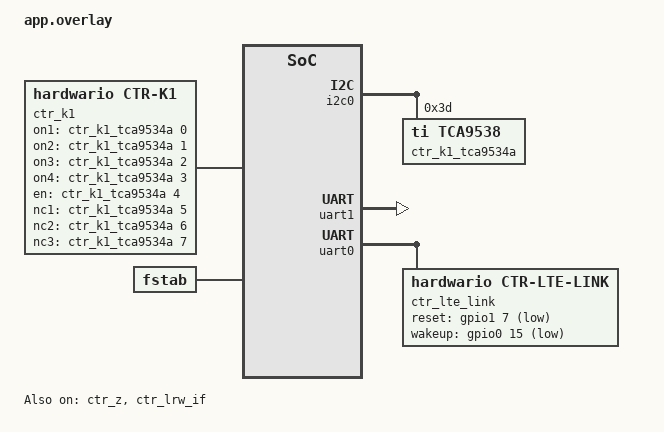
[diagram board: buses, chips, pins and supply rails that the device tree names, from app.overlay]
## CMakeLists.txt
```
#
# Copyright (c) 2024 HARDWARIO a.s.
#
# SPDX-License-Identifier: LicenseRef-HARDWARIO-5-Clause
#

cmake_minimum_required(VERSION 3.20.0)

set(ENV{FW_BUNDLE} "com.hardwario.chester.app.current")
set(ENV{FW_NAME} "CHESTER Current")

# Derive firmware version from git (see scripts/version.cmake); the fallback is
# used when git is unavailable at build time.
set(FW_VERSION_FALLBACK "v3.0.0")
include(${CMAKE_CURRENT_SOURCE_DIR}/../../scripts/version.cmake)

find_package(Zephyr REQUIRED HINTS $ENV{ZEPHYR_BASE})

project(chester-current)

include(${ZEPHYR_CHESTER_MODULE_DIR}/scripts/app_codec.cmake)

target_sources(app PRIVATE src/app_ble_svc.c)
target_sources(app PRIVATE src/app_cbor.c)
target_sources(app PRIVATE src/app_config.c)
target_sources(app PRIVATE src/app_data.c)
target_sources(app PRIVATE src/app_handler.c)
target_sources(app PRIVATE src/app_init.c)
target_sources(app PRIVATE src/app_send.c)
target_sources(app PRIVATE src/app_sensor.c)
target_sources(app PRIVATE src/app_shell.c)
target_sources(app PRIVATE src/app_work.c)
target_sources(app PRIVATE src/main.c)

target_precompile_headers(app PRIVATE src/feature.h)

# ### Preserved code "cmake" (begin)
# ^^^ Preserved code "cmake" (end)
```

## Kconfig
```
#
# Copyright (c) 2024 HARDWARIO a.s.
#
# SPDX-License-Identifier: LicenseRef-HARDWARIO-5-Clause
#

menu "Application"

# HARDWARE-CHESTER-K1
config SHIELD_CTR_K1
	bool "Enable SHIELD_CTR_K1"
	default y

config CTR_K1
	default y
# HARDWARE-CHESTER-Z
config SHIELD_CTR_Z
	bool "Enable SHIELD_CTR_Z"
	default y

config CTR_Z
	default y

config I2C
	default y
# SUBSYSTEM-DS18B20
config SHIELD_CTR_DS18B20
	bool "Enable SHIELD_CTR_DS18B20"
	default y

config CTR_DS18B20
	default y
# SUBSYSTEM-LRW
config SHIELD_CTR_LRW
	bool "Enable SHIELD_CTR_LRW"
	default y

config CTR_LRW
	default y
# SUBSYSTEM-LTE-V2
config SHIELD_CTR_LTE_V2
	bool "Enable SHIELD_CTR_LTE_V2"
	default y

config CTR_LTE_V2
	default y

# ### Preserved code "k_config" (begin)
# ^^^ Preserved code "k_config" (end)

rsource "Kconfig.variant"

endmenu

menu "Zephyr Kernel"
source "Kconfig.zephyr"
endmenu
```

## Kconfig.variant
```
#
# Copyright (c) 2024 HARDWARIO a.s.
#
# SPDX-License-Identifier: LicenseRef-HARDWARIO-5-Clause
#

config VARIANT_CURRENT
    bool "Enable VARIANT_CURRENT"
    default y
```

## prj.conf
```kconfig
#
# Copyright (c) 2024 HARDWARIO a.s.
#
# SPDX-License-Identifier: LicenseRef-HARDWARIO-5-Clause
#

# Configurations
# SUBSYSTEM-ACCEL
CONFIG_CTR_ACCEL=y
# SUBSYSTEM-BATT
CONFIG_CTR_BATT=y
# SUBSYSTEM-BLE-TAG
CONFIG_CTR_BLE_TAG=y
# SUBSYSTEM-BLUETOOTH
CONFIG_CTR_BLE=y
# SUBSYSTEM-BT-FILTER-ACCEPT-LIST
CONFIG_BT_FILTER_ACCEPT_LIST=y
# SUBSYSTEM-BT-OBSERVER
CONFIG_BT_OBSERVER=y
# SUBSYSTEM-BUF
CONFIG_CTR_BUF=y
# SUBSYSTEM-BUTTON
CONFIG_CTR_BUTTON=y
# SUBSYSTEM-CLOUD
CONFIG_CTR_CLOUD=y
CONFIG_SETTINGS_SHELL=y
CONFIG_IMG_MANAGER=y
CONFIG_BOOTLOADER_MCUBOOT=y
CONFIG_SPI=y
CONFIG_DFU_TARGET=y
CONFIG_DFU_TARGET_STREAM=y
CONFIG_DFU_TARGET_MCUBOOT=y
CONFIG_DFU_TARGET_LOG_LEVEL_DBG=y
CONFIG_STREAM_FLASH_ERASE=y
CONFIG_STREAM_FLASH=y
CONFIG_FILE_SYSTEM=y
CONFIG_FILE_SYSTEM_LITTLEFS=y
CONFIG_FILE_SYSTEM_MKFS=y
CONFIG_FILE_SYSTEM_SHELL=y
CONFIG_SETTINGS_FILE=y
CONFIG_SETTINGS_FILE_PATH="/lfs1/settings/run"
# SUBSYSTEM-CONFIG
CONFIG_CTR_CONFIG=y
# SUBSYSTEM-DEFAULTS
CONFIG_CTR_DEFAULTS=y
# SUBSYSTEM-DS18B20
CONFIG_CTR_DS18B20=y
# SUBSYSTEM-INFO
CONFIG_CTR_INFO=y
# SUBSYSTEM-LED
CONFIG_CTR_LED=y
# SUBSYSTEM-LOG
CONFIG_CTR_LOG=y
# SUBSYSTEM-LRW
CONFIG_CTR_LRW=y
# SUBSYSTEM-LTE-V2
CONFIG_CTR_LTE_V2=y
# SUBSYSTEM-POWER
CONFIG_CTR_POWER=y
# SUBSYSTEM-RTC
CONFIG_CTR_RTC=y
# SUBSYSTEM-SHELL
CONFIG_CTR_SHELL=y
# SUBSYSTEM-THERM
CONFIG_CTR_THERM=y
# SUBSYSTEM-WDOG
CONFIG_CTR_WDOG=y
# SUBSYSTEM-ZCBOR
CONFIG_ZCBOR=y
CONFIG_ZCBOR_STOP_ON_ERROR=y
# Extra configurations
CONFIG_ADC_NRFX_SAADC=n
CONFIG_ADC_SHELL=n
CONFIG_CTR_K1_LOG_LEVEL_DBG=y
CONFIG_GPIO_SHELL=y
CONFIG_I2C_SHELL=y
CONFIG_ISR_TABLES_LOCAL_DECLARATION=y
CONFIG_LTO=y
CONFIG_MCUBOOT_SHELL=y
CONFIG_NEWLIB_LIBC_NANO=n

# ### Preserved code "config" (begin)
CONFIG_BUILD_OUTPUT_META=y
CONFIG_BUILD_OUTPUT_META_STATE_PROPAGATE=y
CONFIG_CTR_CLOUD_SPOOL=y
# ^^^ Preserved code "config" (end)
```

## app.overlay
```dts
/*
 * Copyright (c) 2024 HARDWARIO a.s.
 *
 * SPDX-License-Identifier: LicenseRef-HARDWARIO-5-Clause
 */

/* HARDWARE-CHESTER-K1  */
/ {
	ctr_k1: ctr_k1 {
		compatible = "hardwario,ctr-k1";
		status = "okay";
		on1-gpios = <&ctr_k1_tca9534a 0 GPIO_ACTIVE_HIGH>;
		on2-gpios = <&ctr_k1_tca9534a 1 GPIO_ACTIVE_HIGH>;
		on3-gpios = <&ctr_k1_tca9534a 2 GPIO_ACTIVE_HIGH>;
		on4-gpios = <&ctr_k1_tca9534a 3 GPIO_ACTIVE_HIGH>;
		en-gpios = <&ctr_k1_tca9534a 4 GPIO_ACTIVE_HIGH>;
		nc1-gpios = <&ctr_k1_tca9534a 5 GPIO_ACTIVE_HIGH>;
		nc2-gpios = <&ctr_k1_tca9534a 6 GPIO_ACTIVE_HIGH>;
		nc3-gpios = <&ctr_k1_tca9534a 7 GPIO_ACTIVE_HIGH>;
	};
};

&i2c0 {
	ctr_k1_tca9534a: ctr_k1_tca9534a@3d {
		compatible = "ti,tca9538";
		status = "okay";
		reg = <0x3d>;
		#gpio-cells = <2>;
		gpio-controller;
		ngpios = <8>;
	};
};
/* HARDWARE-CHESTER-Z  */
&ctr_z {
	status = "okay";
};
/* SUBSYSTEM-CLOUD  */
/ {
	fstab {
		compatible = "zephyr,fstab";
		lfs1: lfs1 {
			compatible = "zephyr,fstab,littlefs";
			mount-point = "/lfs1";
			partition = <&littlefs_storage>;
			automount;
			read-size = <16>;
			prog-size = <16>;
			cache-size = <64>;
			lookahead-size = <32>;
			block-cycles = <512>;
		};
	};
};
/* SUBSYSTEM-DS18B20  */
&ds2484 {
	ds18b20_0: ds18b20_0 {
		compatible = "maxim,ds18b20";
		resolution = <12>;
		family-code = <0x28>;
	};

	ds18b20_1: ds18b20_1 {
		compatible = "maxim,ds18b20";
		resolution = <12>;
		family-code = <0x28>;
	};

	ds18b20_2: ds18b20_2 {
		compatible = "maxim,ds18b20";
		resolution = <12>;
		family-code = <0x28>;
	};

	ds18b20_3: ds18b20_3 {
		compatible = "maxim,ds18b20";
		resolution = <12>;
		family-code = <0x28>;
	};

	ds18b20_4: ds18b20_4 {
		compatible = "maxim,ds18b20";
		resolution = <12>;
		family-code = <0x28>;
	};

	ds18b20_5: ds18b20_5 {
		compatible = "maxim,ds18b20";
		resolution = <12>;
		family-code = <0x28>;
	};

	ds18b20_6: ds18b20_6 {
		compatible = "maxim,ds18b20";
		resolution = <12>;
		family-code = <0x28>;
	};

	ds18b20_7: ds18b20_7 {
		compatible = "maxim,ds18b20";
		resolution = <12>;
		family-code = <0x28>;
	};

	ds18b20_8: ds18b20_8 {
		compatible = "maxim,ds18b20";
		resolution = <12>;
		family-code = <0x28>;
	};

	ds18b20_9: ds18b20_9 {
		compatible = "maxim,ds18b20";
		resolution = <12>;
		family-code = <0x28>;
	};
};
/* SUBSYSTEM-LRW   */
&ctr_lrw_if {
	status = "okay";
};

&uart1 {
	status = "okay";
};
/* SUBSYSTEM-LTE-V2  */
/ {
	chosen {
		ctr,lte_link = &ctr_lte_link;
	};
};

&uart0 {
	status = "okay";

	ctr_lte_link: ctr_lte_link {
		compatible = "hardwario,ctr-lte-link";
		status = "okay";
		reset-gpios = <&gpio1 7 (GPIO_ACTIVE_LOW | GPIO_OPEN_DRAIN)>;
		wakeup-gpios = <&gpio0 15 (GPIO_ACTIVE_LOW | GPIO_OPEN_DRAIN)>;
	};
};

&uart0 {
	status = "okay";
};

/* ### Preserved code "overlay" (begin) */
/* ^^^ Preserved code "overlay" (end) */
```

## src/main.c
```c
#include "app_init.h"
#include "app_loop.h"

/* Zephyr includes */
#include <zephyr/kernel.h>
#include <zephyr/logging/log.h>

LOG_MODULE_REGISTER(main, LOG_LEVEL_DBG);

void main(void)
{
	int ret;

	LOG_INF("Build time: " __DATE__ " " __TIME__);

	ret = app_init();
	if (ret) {
		LOG_ERR("Call `app_init` failed: %d", ret);
		k_oops();
	}

	for (;;) {
		LOG_INF("Alive");

		ret = app_loop();
		if (ret) {
			LOG_ERR("Call `app_loop` failed: %d", ret);
			k_oops();
		}
	}
}
```

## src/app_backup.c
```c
/*
 * Copyright (c) 2024 HARDWARIO a.s.
 *
 * SPDX-License-Identifier: LicenseRef-HARDWARIO-5-Clause
 */

#include "app_backup.h"
#include "app_data.h"

/* CHESTER includes */
#include <chester/drivers/ctr_z.h>

/* Zephyr includes */
#include <zephyr/device.h>
#include <zephyr/devicetree.h>
#include <zephyr/kernel.h>
#include <zephyr/logging/log.h>

/* Standard includes */
#include <errno.h>
#include <math.h>
#include <stdbool.h>

LOG_MODULE_REGISTER(app_backup, LOG_LEVEL_DBG);

#if defined(FEATURE_HARDWARE_CHESTER_Z)

int app_backup_sample(void)
{
	int ret;

	static const struct device *dev = DEVICE_DT_GET(DT_NODELABEL(ctr_z));

	if (!device_is_ready(dev)) {
		LOG_ERR("Device not ready");
		ret = -ENODEV;
		goto error;
	}

	struct ctr_z_status status;
	ret = ctr_z_get_status(dev, &status);
	if (ret) {
		LOG_ERR("Call `ctr_z_get_status` failed: %d", ret);
		goto error;
	}

	LOG_INF("DC input connected: %d", status.dc_input_connected);

	uint16_t vdc;
	ret = ctr_z_get_vdc_mv(dev, &vdc);
	if (ret) {
		LOG_ERR("Call `ctr_z_get_vdc_mv` failed: %d", ret);
		goto error;
	}

	LOG_INF("Voltage DC input: %u mV", vdc);

	uint16_t vbat;
	ret = ctr_z_get_vbat_mv(dev, &vbat);
	if (ret) {
		LOG_ERR("Call `ctr_z_get_vbat_mv` failed: %d", ret);
		goto error;
	}

	LOG_INF("Voltage backup battery: %u mV", vbat);

	app_data_lock();
	g_app_data.backup.line_present = status.dc_input_connected;
	g_app_data.backup.line_voltage = vdc / 1000.f;
	g_app_data.backup.battery_voltage = vbat / 1000.f;
	app_data_unlock();

	return 0;

error:
	app_data_lock();
	g_app_data.backup.line_present = false;
	g_app_data.backup.line_voltage = NAN;
	g_app_data.backup.battery_voltage = NAN;
	app_data_unlock();

	return ret;
}

int app_backup_clear(void)
{
	app_data_lock();
	g_app_data.backup.event_count = 0;
	app_data_unlock();

	return 0;
}

#endif /* defined(FEATURE_HARDWARE_CHESTER_Z) */
```

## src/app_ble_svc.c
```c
/*
 * Copyright (c) 2024 HARDWARIO a.s.
 *
 * SPDX-License-Identifier: LicenseRef-HARDWARIO-5-Clause
 */

#include "app_config.h"

/* Zephyr includes */
#include <zephyr/bluetooth/bluetooth.h>
#include <zephyr/bluetooth/gatt.h>
#include <zephyr/bluetooth/uuid.h>
#include <zephyr/init.h>
#include <zephyr/kernel.h>
#include <zephyr/logging/log.h>
#include <zephyr/sys/byteorder.h>
#include <zephyr/sys/reboot.h>

/* Standard includes */
#include <stdint.h>

LOG_MODULE_REGISTER(app_ble_svc, LOG_LEVEL_DBG);

static struct bt_uuid_128 m_svc_uuid =
	BT_UUID_INIT_128(BT_UUID_128_ENCODE(0x450dad4c, 0xd8b4, 0x4dc4, 0xbdba, 0x498075184b3a));

static struct bt_uuid_128 m_interval_report_chrc_uuid =
	BT_UUID_INIT_128(BT_UUID_128_ENCODE(0xf6af9271, 0x67a9, 0x4bf8, 0xa618, 0x158af711b1b6));

static ssize_t write_interval_report(struct bt_conn *conn, const struct bt_gatt_attr *attr,
				     const void *buf, uint16_t len, uint16_t offset, uint8_t flags)
{
	int ret;

	if (offset) {
		return BT_GATT_ERR(BT_ATT_ERR_INVALID_OFFSET);
	}

	uint32_t value;

	if (len != sizeof(value)) {
		return BT_GATT_ERR(BT_ATT_ERR_INVALID_ATTRIBUTE_LEN);
	}

	value = sys_get_le32(buf);

	ret = app_config_set_interval_report(value);
	if (ret) {
		return BT_GATT_ERR(BT_ATT_ERR_VALUE_NOT_ALLOWED);
	}

	return len;
}

static ssize_t read_interval_report(struct bt_conn *conn, const struct bt_gatt_attr *attr,
				    void *buf, uint16_t len, uint16_t offset)
{
	uint32_t value;
	sys_put_le32(app_config_get_interval_report(), (uint8_t *)&value);

	return bt_gatt_attr_read(conn, attr, buf, len, offset, &value, sizeof(value));
}

/* clang-format off */

BT_GATT_SERVICE_DEFINE(
	app_svc,
	BT_GATT_PRIMARY_SERVICE(&m_svc_uuid),

	BT_GATT_CHARACTERISTIC(
		&m_interval_report_chrc_uuid.uuid,
		BT_GATT_CHRC_READ | BT_GATT_CHRC_WRITE,
		BT_GATT_PERM_READ_AUTHEN | BT_GATT_PERM_WRITE_AUTHEN,
		read_interval_report, write_interval_report, NULL
	)
);

/* clang-format on */
```

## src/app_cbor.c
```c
/*
 * Copyright (c) 2024 HARDWARIO a.s.
 *
 * SPDX-License-Identifier: LicenseRef-HARDWARIO-5-Clause
 */

#include "app_cbor.h"
#include "app_codec.h"
#include "app_config.h"
#include "app_data.h"

/* CHESTER includes */
#include <chester/ctr_info.h>
#include <chester/ctr_lte_v2.h>
#include <chester/ctr_rtc.h>
#include <chester/ctr_util.h>

/* Zephyr includes */
#include <zephyr/kernel.h>
#include <zephyr/logging/log.h>

#include <zcbor_common.h>
#include <zcbor_decode.h>
#include <zcbor_encode.h>

/* Standard includes */
#include <errno.h>
#include <math.h>
#include <stdbool.h>
#include <stddef.h>
#include <stdint.h>
#include <stdlib.h>

/* ### Preserved code "functions" (begin) */
#include <chester/ctr_power.h>

__unused static void put_sample_mul(zcbor_state_t *zs, struct ctr_data_aggreg *sample, float mul)
{
	if (isnan(sample->min)) {
		zcbor_nil_put(zs, NULL);
	} else {
		int32_t v = sample->min * mul;
		zcbor_int32_put(zs, v);
	}

	if (isnan(sample->max)) {
		zcbor_nil_put(zs, NULL);
	} else {
		int32_t v = sample->max * mul;
		zcbor_int32_put(zs, v);
	}

	if (isnan(sample->avg)) {
		zcbor_nil_put(zs, NULL);
	} else {
		int32_t v = sample->avg * mul;
		zcbor_int32_put(zs, v);
	}

	if (isnan(sample->mdn)) {
		zcbor_nil_put(zs, NULL);
	} else {
		int32_t v = sample->mdn * mul;
		zcbor_int32_put(zs, v);
	}
}

__unused static void put_sample(zcbor_state_t *zs, struct ctr_data_aggreg *sample)
{
	put_sample_mul(zs, sample, 1.f);
}

/* ^^^ Preserved code "functions" (end) */

LOG_MODULE_REGISTER(app_cbor, LOG_LEVEL_DBG);

static int encode(zcbor_state_t *zs)
{
	int ret;

	zs->constant_state->stop_on_error = true;

	zcbor_map_start_encode(zs, ZCBOR_VALUE_IS_INDEFINITE_LENGTH);

	/* ### Preserved code "message" (begin) */

	zcbor_uint32_put(zs, CODEC_KEY_E_MESSAGE);
	{
		zcbor_map_start_encode(zs, ZCBOR_VALUE_IS_INDEFINITE_LENGTH);

		zcbor_uint32_put(zs, CODEC_KEY_E_MESSAGE__VERSION);
		zcbor_uint32_put(zs, 1);

		zcbor_uint32_put(zs, CODEC_KEY_E_MESSAGE__SEQUENCE);
		static uint32_t sequence;
		zcbor_uint32_put(zs, sequence++);

		uint64_t timestamp;
		ret = ctr_rtc_get_ts(&timestamp);
		if (ret) {
			LOG_ERR("Call `ctr_rtc_get_ts` failed: %d", ret);
			return ret;
		}
		zcbor_uint32_put(zs, CODEC_KEY_E_MESSAGE__TIMESTAMP);
		zcbor_uint64_put(zs, timestamp);

		zcbor_map_end_encode(zs, ZCBOR_VALUE_IS_INDEFINITE_LENGTH);
	}

	/* ^^^ Preserved code "message" (end) */

	/* ### Preserved code "system" (begin) */

	zcbor_uint32_put(zs, CODEC_KEY_E_SYSTEM);
	{
		zcbor_map_start_encode(zs, ZCBOR_VALUE_IS_INDEFINITE_LENGTH);

		zcbor_uint32_put(zs, CODEC_KEY_E_SYSTEM__UPTIME);
		zcbor_uint32_put(zs, k_uptime_get() / 1000);

		zcbor_map_end_encode(zs, ZCBOR_VALUE_IS_INDEFINITE_LENGTH);
	}

	/* ^^^ Preserved code "system" (end) */

	/* ### Preserved code "network" (begin) */

	zcbor_uint32_put(zs, CODEC_KEY_E_NETWORK);
	{
		zcbor_map_start_encode(zs, ZCBOR_VALUE_IS_INDEFINITE_LENGTH);

		zcbor_uint32_put(zs, CODEC_KEY_E_NETWORK__PARAMETER);
		{
			zcbor_map_start_encode(zs, ZCBOR_VALUE_IS_INDEFINITE_LENGTH);

			static struct ctr_lte_v2_conn_param conn_param;
			ret = ctr_lte_v2_get_conn_param(&conn_param);
			if (ret) {
				LOG_WRN("Call `ctr_lte_v2_get_conn_param` failed: %d", ret);
			}

			zcbor_uint32_put(zs, CODEC_KEY_E_NETWORK__PARAMETER__EEST);
			if (conn_param.valid) {
				zcbor_int32_put(zs, conn_param.eest);
			} else {
				zcbor_nil_put(zs, NULL);
			}

			zcbor_uint32_put(zs, CODEC_KEY_E_NETWORK__PARAMETER__ECL);
			if (conn_param.valid) {
				zcbor_int32_put(zs, conn_param.ecl);
			} else {
				zcbor_nil_put(zs, NULL);
			}

			zcbor_uint32_put(zs, CODEC_KEY_E_NETWORK__PARAMETER__RSRP);
			if (conn_param.valid) {
				zcbor_int32_put(zs, conn_param.rsrp);
			} else {
				zcbor_nil_put(zs, NULL);
			}

			zcbor_uint32_put(zs, CODEC_KEY_E_NETWORK__PARAMETER__RSRQ);
			if (conn_param.valid) {
				zcbor_int32_put(zs, conn_param.rsrq);
			} else {
				zcbor_nil_put(zs, NULL);
			}

			zcbor_uint32_put(zs, CODEC_KEY_E_NETWORK__PARAMETER__SNR);
			if (conn_param.valid) {
				zcbor_int32_put(zs, conn_param.snr);
			} else {
				zcbor_nil_put(zs, NULL);
			}

			zcbor_uint32_put(zs, CODEC_KEY_E_NETWORK__PARAMETER__PLMN);
			if (conn_param.valid) {
				zcbor_int32_put(zs, conn_param.plmn);
			} else {
				zcbor_nil_put(zs, NULL);
			}

			zcbor_uint32_put(zs, CODEC_KEY_E_NETWORK__PARAMETER__CID);
			if (conn_param.valid) {
				zcbor_int32_put(zs, conn_param.cid);
			} else {
				zcbor_nil_put(zs, NULL);
			}

			zcbor_uint32_put(zs, CODEC_KEY_E_NETWORK__PARAMETER__BAND);
			if (conn_param.valid) {
				zcbor_int32_put(zs, conn_param.band);
			} else {
				zcbor_nil_put(zs, NULL);
			}

			zcbor_uint32_put(zs, CODEC_KEY_E_NETWORK__PARAMETER__EARFCN);
			if (conn_param.valid) {
				zcbor_int32_put(zs, conn_param.earfcn);
			} else {
				zcbor_nil_put(zs, NULL);
			}

			zcbor_map_end_encode(zs, ZCBOR_VALUE_IS_INDEFINITE_LENGTH);
		}

		zcbor_map_end_encode(zs, ZCBOR_VALUE_IS_INDEFINITE_LENGTH);
	}

	/* ^^^ Preserved code "network" (end) */

	/* ### Preserved code "thermometer" (begin) */

	zcbor_uint32_put(zs, CODEC_KEY_E_THERMOMETER);
	{
		zcbor_map_start_encode(zs, ZCBOR_VALUE_IS_INDEFINITE_LENGTH);

		zcbor_uint32_put(zs, CODEC_KEY_E_THERMOMETER__TEMPERATURE);
		if (isnan(g_app_data.therm_temperature)) {
			zcbor_nil_put(zs, NULL);
		} else {
			zcbor_int32_put(zs, g_app_data.therm_temperature * 100.f);
		}

		zcbor_map_end_encode(zs, ZCBOR_VALUE_IS_INDEFINITE_LENGTH);
	}

	/* ^^^ Preserved code "thermometer" (end) */

	/* ### Preserved code "accelerometer" (begin) */

	zcbor_uint32_put(zs, CODEC_KEY_E_ACCELEROMETER);
	{
		zcbor_map_start_encode(zs, ZCBOR_VALUE_IS_INDEFINITE_LENGTH);

		zcbor_uint32_put(zs, CODEC_KEY_E_ACCELEROMETER__ACCEL_X);
		if (isnan(g_app_data.accel_acceleration_x)) {
			zcbor_nil_put(zs, NULL);
		} else {
			zcbor_int32_put(zs, g_app_data.accel_acceleration_x * 1000.f);
		}

		zcbor_uint32_put(zs, CODEC_KEY_E_ACCELEROMETER__ACCEL_Y);
		if (isnan(g_app_data.accel_acceleration_y)) {
			zcbor_nil_put(zs, NULL);
		} else {
			zcbor_int32_put(zs, g_app_data.accel_acceleration_y * 1000.f);
		}

		zcbor_uint32_put(zs, CODEC_KEY_E_ACCELEROMETER__ACCEL_Z);
		if (isnan(g_app_data.accel_acceleration_z)) {
			zcbor_nil_put(zs, NULL);
		} else {
			zcbor_int32_put(zs, g_app_data.accel_acceleration_z * 1000.f);
		}

		zcbor_uint32_put(zs, CODEC_KEY_E_ACCELEROMETER__ORIENTATION);
		if (g_app_data.accel_orientation == INT_MAX) {
			zcbor_nil_put(zs, NULL);
		} else {
			zcbor_uint32_put(zs, g_app_data.accel_orientation);
		}

		zcbor_map_end_encode(zs, ZCBOR_VALUE_IS_INDEFINITE_LENGTH);
	}

	/* ^^^ Preserved code "accelerometer" (end) */

	/* ### Preserved code "backup" (begin) */

#if defined(FEATURE_SUBSYSTEM_POWER)
	ret = ctr_power_cbor_encode(zs);
	if (ret) {
		LOG_ERR("Call `ctr_power_cbor_encode` failed: %d", ret);
		return ret;
	}
#endif /* defined(FEATURE_SUBSYSTEM_POWER) */

	/* ^^^ Preserved code "backup" (end) */

	/* ### Preserved code "analog_channels" (begin) */

#if defined(FEATURE_HARDWARE_CHESTER_K1)
	zcbor_uint32_put(zs, CODEC_KEY_E_ANALOG_CHANNELS);
	{
		zcbor_list_start_encode(zs, ZCBOR_VALUE_IS_INDEFINITE_LENGTH);
		for (int i = 0; i < APP_CONFIG_CHANNEL_COUNT; i++) {

			if (!g_app_config.channel_active[i]) {
				continue;
			}

			zcbor_map_start_encode(zs, ZCBOR_VALUE_IS_INDEFINITE_LENGTH);

			zcbor_uint32_put(zs, CODEC_KEY_E_ANALOG_CHANNELS__CHANNEL);
			zcbor_uint64_put(zs, i + 1);

			struct app_data_channel *ch = &g_app_data.channel[i];

			/* Raw RMS measurements */
			zcbor_uint32_put(zs, CODEC_KEY_E_ANALOG_CHANNELS__RAW_RMS);
			{
				zcbor_map_start_encode(zs, ZCBOR_VALUE_IS_INDEFINITE_LENGTH);
				zcbor_uint32_put(zs,
						 CODEC_KEY_E_ANALOG_CHANNELS__RAW_RMS__MEASUREMENTS_DIV);
				{
					zcbor_list_start_encode(zs, ZCBOR_VALUE_IS_INDEFINITE_LENGTH);
					zcbor_uint64_put(zs, ch->timestamp);
					zcbor_uint32_put(zs, g_app_config.interval_aggreg);

					for (int j = 0; j < ch->measurement_count; j++) {
						put_sample_mul(zs, &ch->measurements_rms[j], 100.f);
					}
					zcbor_list_end_encode(zs, ZCBOR_VALUE_IS_INDEFINITE_LENGTH);
				}
				zcbor_map_end_encode(zs, ZCBOR_VALUE_IS_INDEFINITE_LENGTH);
			}

			/* Raw Mean measurements */
			zcbor_uint32_put(zs, CODEC_KEY_E_ANALOG_CHANNELS__RAW_MEAN);
			{
				zcbor_map_start_encode(zs, ZCBOR_VALUE_IS_INDEFINITE_LENGTH);
				zcbor_uint32_put(zs,
						 CODEC_KEY_E_ANALOG_CHANNELS__RAW_MEAN__MEASUREMENTS_DIV);
				{
					zcbor_list_start_encode(zs, ZCBOR_VALUE_IS_INDEFINITE_LENGTH);
					zcbor_uint64_put(zs, ch->timestamp);
					zcbor_uint32_put(zs, g_app_config.interval_aggreg);

					for (int j = 0; j < ch->measurement_count; j++) {
						put_sample_mul(zs, &ch->measurements_mean[j], 100.f);
					}
					zcbor_list_end_encode(zs, ZCBOR_VALUE_IS_INDEFINITE_LENGTH);
				}
				zcbor_map_end_encode(zs, ZCBOR_VALUE_IS_INDEFINITE_LENGTH);
			}

			/* Calibration measurements */
			zcbor_uint32_put(zs, CODEC_KEY_E_ANALOG_CHANNELS__CALIBRATION);
			{
				zcbor_map_start_encode(zs, ZCBOR_VALUE_IS_INDEFINITE_LENGTH);

				int mode = APP_CONFIG_GET_CALIB_MODE(g_app_config, i);
				zcbor_uint32_put(zs, CODEC_KEY_E_ANALOG_CHANNELS__CALIBRATION__MODE);
				zcbor_uint32_put(zs, mode);

				zcbor_uint32_put(
					zs, CODEC_KEY_E_ANALOG_CHANNELS__CALIBRATION__MEASUREMENTS_DIV);
				{
					zcbor_list_start_encode(zs, ZCBOR_VALUE_IS_INDEFINITE_LENGTH);
					zcbor_uint64_put(zs, ch->timestamp);
					zcbor_uint32_put(zs, g_app_config.interval_aggreg);

					for (int j = 0; j < ch->measurement_count; j++) {
						put_sample_mul(zs, &ch->measurements_calib[j], 100.f);
					}
					zcbor_list_end_encode(zs, ZCBOR_VALUE_IS_INDEFINITE_LENGTH);
				}
				zcbor_map_end_encode(zs, ZCBOR_VALUE_IS_INDEFINITE_LENGTH);
			}

			zcbor_map_end_encode(zs, ZCBOR_VALUE_IS_INDEFINITE_LENGTH);
		}
		zcbor_list_end_encode(zs, ZCBOR_VALUE_IS_INDEFINITE_LENGTH);
	}
#endif /* defined(FEATURE_HARDWARE_CHESTER_K1) */

	/* ^^^ Preserved code "analog_channels" (end) */

	/* ### Preserved code "w1_thermometers" (begin) */

#if defined(FEATURE_SUBSYSTEM_DS18B20)
	zcbor_uint32_put(zs, CODEC_KEY_E_W1_THERMOMETERS);
	{
		zcbor_list_start_encode(zs, ZCBOR_VALUE_IS_INDEFINITE_LENGTH);
		for (int i = 0; i < APP_DATA_W1_THERM_COUNT; i++) {
			struct app_data_w1_therm_sensor *sensor = &g_app_data.w1_therm.sensor[i];

			if (!sensor->serial_number) {
				continue;
			}

			zcbor_map_start_encode(zs, ZCBOR_VALUE_IS_INDEFINITE_LENGTH);

			zcbor_uint32_put(zs, CODEC_KEY_E_W1_THERMOMETERS__SERIAL_NUMBER);
			zcbor_uint64_put(zs, sensor->serial_number);

			zcbor_uint32_put(zs, CODEC_KEY_E_W1_THERMOMETERS__MEASUREMENTS_DIV);
			{
				zcbor_list_start_encode(zs, ZCBOR_VALUE_IS_INDEFINITE_LENGTH);

				zcbor_uint64_put(zs, g_app_data.w1_therm.timestamp);
				zcbor_uint32_put(zs, g_app_config.w1_therm_interval_aggreg);

				for (int j = 0; j < sensor->measurement_count; j++) {
					put_sample_mul(zs, &sensor->measurements[j].temperature,
						       100.f);
				}

				zcbor_list_end_encode(zs, ZCBOR_VALUE_IS_INDEFINITE_LENGTH);
			}

			zcbor_map_end_encode(zs, ZCBOR_VALUE_IS_INDEFINITE_LENGTH);
		}
		zcbor_list_end_encode(zs, ZCBOR_VALUE_IS_INDEFINITE_LENGTH);
	}
#endif /* defined(FEATURE_SUBSYSTEM_DS18B20) */

	/* ^^^ Preserved code "w1_thermometers" (end) */

	/* ### Preserved code "ble_tags" (begin) */

#if defined(FEATURE_SUBSYSTEM_BLE_TAG)
	zcbor_int32_put(zs, CODEC_KEY_E_BLE_TAGS);
	{
		zcbor_list_start_encode(zs, ZCBOR_VALUE_IS_INDEFINITE_LENGTH);
		for (int i = 0; i < CTR_BLE_TAG_COUNT; i++) {
			struct app_data_ble_tag_sensor *sensor = &g_app_data.ble_tag.sensor[i];

			if (ctr_ble_tag_is_addr_empty(sensor->addr)) {
				continue;
			}

			zcbor_map_start_encode(zs, ZCBOR_VALUE_IS_INDEFINITE_LENGTH);
			{

				zcbor_uint32_put(zs, CODEC_KEY_E_BLE_TAGS__ADDR);
				{
					char addr_str[BT_ADDR_SIZE * 2 + 1] = {0};
					ctr_buf2hex(sensor->addr, BT_ADDR_SIZE, addr_str,
						    BT_ADDR_SIZE * 2 + 1, false);
					zcbor_tstr_put_lit(zs, addr_str);
				}

				zcbor_uint32_put(zs, CODEC_KEY_E_BLE_TAGS__RSSI);
				if (sensor->rssi < 0) {
					zcbor_int32_put(zs, sensor->rssi);
				} else {
					zcbor_nil_put(zs, NULL);
				}

				zcbor_uint32_put(zs, CODEC_KEY_E_BLE_TAGS__VOLTAGE);
				if (!isnan(sensor->voltage)) {
					zcbor_uint32_put(zs, sensor->voltage * 100.f);
				} else {
					zcbor_nil_put(zs, NULL);
				}

				zcbor_uint32_put(zs, CODEC_KEY_E_BLE_TAGS__TEMPERATURE);
				{
					zcbor_map_start_encode(zs,
							       ZCBOR_VALUE_IS_INDEFINITE_LENGTH);
					zcbor_uint32_put(
						zs,
						CODEC_KEY_E_BLE_TAGS__TEMPERATURE__MEASUREMENTS);
					{
						zcbor_list_start_encode(
							zs, ZCBOR_VALUE_IS_INDEFINITE_LENGTH);

						zcbor_uint64_put(zs, g_app_data.ble_tag.timestamp);
						zcbor_uint32_put(
							zs, g_app_config.interval_aggreg);

						for (int j = 0; j < sensor->measurement_count;
						     j++) {
							put_sample_mul(zs,
								       &sensor->measurements[j]
										.temperature,
								       100.f);
						}
						zcbor_list_end_encode(
							zs, ZCBOR_VALUE_IS_INDEFINITE_LENGTH);
					}
					zcbor_map_end_encode(zs, ZCBOR_VALUE_IS_INDEFINITE_LENGTH);
				}

				zcbor_int32_put(zs, CODEC_KEY_E_BLE_TAGS__HUMIDITY);
				{
					zcbor_map_start_encode(zs,
							       ZCBOR_VALUE_IS_INDEFINITE_LENGTH);
					zcbor_uint32_put(
						zs, CODEC_KEY_E_BLE_TAGS__HUMIDITY__MEASUREMENTS);
					{
						zcbor_list_start_encode(
							zs, ZCBOR_VALUE_IS_INDEFINITE_LENGTH);

						zcbor_uint64_put(zs, g_app_data.ble_tag.timestamp);
						zcbor_uint32_put(
							zs, g_app_config.interval_aggreg);

						for (int j = 0; j < sensor->measurement_count;
						     j++) {
							put_sample_mul(
								zs,
								&sensor->measurements[j].humidity,
								100.f);
						}
						zcbor_list_end_encode(
							zs, ZCBOR_VALUE_IS_INDEFINITE_LENGTH);
					}
					zcbor_map_end_encode(zs, ZCBOR_VALUE_IS_INDEFINITE_LENGTH);
				}
			}

			zcbor_map_end_encode(zs, ZCBOR_VALUE_IS_INDEFINITE_LENGTH);
		}

		zcbor_list_end_encode(zs, ZCBOR_VALUE_IS_INDEFINITE_LENGTH);
	}
#endif /* defined(FEATURE_SUBSYSTEM_BLE_TAG) */

	/* ^^^ Preserved code "ble_tags" (end) */

	zcbor_map_end_encode(zs, ZCBOR_VALUE_IS_INDEFINITE_LENGTH);

	if (!zcbor_check_error(zs)) {
		LOG_ERR("Encoding failed: %d", zcbor_pop_error(zs));
		return -EFAULT;
	}

	return 0;
}

int app_cbor_encode(zcbor_state_t *zs)
{
	int ret;

	app_data_lock();

	ret = encode(zs);
	if (ret) {
		LOG_ERR("Call `encode` failed: %d", ret);
		app_data_unlock();
		return ret;
	}

	app_data_unlock();

	return 0;
}
```

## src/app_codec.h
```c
#ifndef CODEC_H_
#define CODEC_H_

/* This file has been generated using the script gen-codec.py */

#ifdef __cplusplus
extern "C" {
#endif

#define CODEC_CLOUD_DECODER_HASH ((uint64_t)0x7b034ffc6623f887)
#define CODEC_CLOUD_ENCODER_HASH ((uint64_t)0x0000000000000000)

enum codec_key_e {
	CODEC_KEY_E_MESSAGE = 0,
	CODEC_KEY_E_MESSAGE__VERSION = 1,
	CODEC_KEY_E_MESSAGE__SEQUENCE = 2,
	CODEC_KEY_E_MESSAGE__TIMESTAMP = 3,
	CODEC_KEY_E_SYSTEM = 4,
	CODEC_KEY_E_SYSTEM__UPTIME = 5,
	CODEC_KEY_E_SYSTEM__VOLTAGE_LOAD = 6,
	CODEC_KEY_E_SYSTEM__VOLTAGE_REST = 7,
	CODEC_KEY_E_SYSTEM__CURRENT_LOAD = 8,
	CODEC_KEY_E_NETWORK = 9,
	CODEC_KEY_E_NETWORK__PARAMETER = 10,
	CODEC_KEY_E_NETWORK__PARAMETER__EEST = 11,
	CODEC_KEY_E_NETWORK__PARAMETER__ECL = 12,
	CODEC_KEY_E_NETWORK__PARAMETER__RSRP = 13,
	CODEC_KEY_E_NETWORK__PARAMETER__RSRQ = 14,
	CODEC_KEY_E_NETWORK__PARAMETER__SNR = 15,
	CODEC_KEY_E_NETWORK__PARAMETER__PLMN = 16,
	CODEC_KEY_E_NETWORK__PARAMETER__CID = 17,
	CODEC_KEY_E_NETWORK__PARAMETER__BAND = 18,
	CODEC_KEY_E_NETWORK__PARAMETER__EARFCN = 19,
	CODEC_KEY_E_THERMOMETER = 20,
	CODEC_KEY_E_THERMOMETER__TEMPERATURE = 21,
	CODEC_KEY_E_ACCELEROMETER = 22,
	CODEC_KEY_E_ACCELEROMETER__ACCEL_X = 23,
	CODEC_KEY_E_ACCELEROMETER__ACCEL_Y = 24,
	CODEC_KEY_E_ACCELEROMETER__ACCEL_Z = 25,
	CODEC_KEY_E_ACCELEROMETER__ORIENTATION = 26,
	CODEC_KEY_E_BACKUP = 27,
	CODEC_KEY_E_BACKUP__LINE_VOLTAGE = 28,
	CODEC_KEY_E_BACKUP__BATT_VOLTAGE = 29,
	CODEC_KEY_E_BACKUP__STATE = 30,
	CODEC_KEY_E_BACKUP__EVENTS = 31,
	CODEC_KEY_E_ANALOG_CHANNELS = 32,
	CODEC_KEY_E_ANALOG_CHANNELS__CHANNEL = 33,
	CODEC_KEY_E_ANALOG_CHANNELS__RAW_RMS = 34,
	CODEC_KEY_E_ANALOG_CHANNELS__RAW_RMS__MEASUREMENTS_DIV = 35,
	CODEC_KEY_E_ANALOG_CHANNELS__RAW_MEAN = 36,
	CODEC_KEY_E_ANALOG_CHANNELS__RAW_MEAN__MEASUREMENTS_DIV = 37,
	CODEC_KEY_E_ANALOG_CHANNELS__CALIBRATION = 38,
	CODEC_KEY_E_ANALOG_CHANNELS__CALIBRATION__MODE = 39,
	CODEC_KEY_E_ANALOG_CHANNELS__CALIBRATION__MEASUREMENTS_DIV = 40,
	CODEC_KEY_E_W1_THERMOMETERS = 41,
	CODEC_KEY_E_W1_THERMOMETERS__SERIAL_NUMBER = 42,
	CODEC_KEY_E_W1_THERMOMETERS__MEASUREMENTS_DIV = 43,
	CODEC_KEY_E_BLE_TAGS = 44,
	CODEC_KEY_E_BLE_TAGS__ADDR = 45,
	CODEC_KEY_E_BLE_TAGS__RSSI = 46,
	CODEC_KEY_E_BLE_TAGS__VOLTAGE = 47,
	CODEC_KEY_E_BLE_TAGS__TEMPERATURE = 48,
	CODEC_KEY_E_BLE_TAGS__TEMPERATURE__MEASUREMENTS = 49,
	CODEC_KEY_E_BLE_TAGS__HUMIDITY = 50,
	CODEC_KEY_E_BLE_TAGS__HUMIDITY__MEASUREMENTS = 51,
};

#define CODEC_CLOUD_OPTIONS_STATIC(_name) \
	static const uint8_t _name##_cloud_decoder[] = CLOUD_DECODER_BUFFER; \
	static struct ctr_cloud_options _name = { \
		.decoder_hash = CODEC_CLOUD_DECODER_HASH, \
		.encoder_hash = CODEC_CLOUD_ENCODER_HASH, \
		.decoder_buf = _name##_cloud_decoder, \
		.decoder_len = 1544, \
		.encoder_buf = NULL, \
		.encoder_len = 0, \
}

#define CLOUD_DECODER_BUFFER { \
	0xa4, 0x67, 0x76, 0x65, 0x72, 0x73, 0x69, 0x6f, \
	0x6e, 0x02, 0x64, 0x74, 0x79, 0x70, 0x65, 0x67, \
	0x64, 0x65, 0x63, 0x6f, 0x64, 0x65, 0x72, 0x64, \
	0x6e, 0x61, 0x6d, 0x65, 0x78, 0x21, 0x63, 0x6f, \
	0x6d, 0x2e, 0x68, 0x61, 0x72, 0x64, 0x77, 0x61, \
	0x72, 0x69, 0x6f, 0x2e, 0x63, 0x68, 0x65, 0x73, \
	0x74, 0x65, 0x72, 0x2e, 0x61, 0x70, 0x70, 0x2e, \
	0x63, 0x75, 0x72, 0x72, 0x65, 0x6e, 0x74, 0x66, \
	0x73, 0x63, 0x68, 0x65, 0x6d, 0x61, 0x89, 0xa1, \
	0x67, 0x6d, 0x65, 0x73, 0x73, 0x61, 0x67, 0x65, \
	0x83, 0xa1, 0x67, 0x76, 0x65, 0x72, 0x73, 0x69, \
	0x6f, 0x6e, 0xf6, 0xa1, 0x68, 0x73, 0x65, 0x71, \
	0x75, 0x65, 0x6e, 0x63, 0x65, 0xf6, 0xa1, 0x69, \
	0x74, 0x69, 0x6d, 0x65, 0x73, 0x74, 0x61, 0x6d, \
	0x70, 0xf6, 0xa1, 0x66, 0x73, 0x79, 0x73, 0x74, \
	0x65, 0x6d, 0x84, 0xa1, 0x66, 0x75, 0x70, 0x74, \
	0x69, 0x6d, 0x65, 0xf6, 0xa1, 0x6c, 0x76, 0x6f, \
	0x6c, 0x74, 0x61, 0x67, 0x65, 0x5f, 0x6c, 0x6f, \
	0x61, 0x64, 0x82, 0xa1, 0x64, 0x24, 0x64, 0x69, \
	0x76, 0x19, 0x03, 0xe8, 0xa1, 0x64, 0x24, 0x66, \
	0x70, 0x70, 0x02, 0xa1, 0x6c, 0x76, 0x6f, 0x6c, \
	0x74, 0x61, 0x67, 0x65, 0x5f, 0x72, 0x65, 0x73, \
	0x74, 0x82, 0xa1, 0x64, 0x24, 0x64, 0x69, 0x76, \
	0x19, 0x03, 0xe8, 0xa1, 0x64, 0x24, 0x66, 0x70, \
	0x70, 0x02, 0xa1, 0x6c, 0x63, 0x75, 0x72, 0x72, \
	0x65, 0x6e, 0x74, 0x5f, 0x6c, 0x6f, 0x61, 0x64, \
	0xf6, 0xa1, 0x67, 0x6e, 0x65, 0x74, 0x77, 0x6f, \
	0x72, 0x6b, 0x81, 0xa1, 0x69, 0x70, 0x61, 0x72, \
	0x61, 0x6d, 0x65, 0x74, 0x65, 0x72, 0x89, 0xa1, \
	0x64, 0x65, 0x65, 0x73, 0x74, 0xf6, 0xa1, 0x63, \
	0x65, 0x63, 0x6c, 0xf6, 0xa1, 0x64, 0x72, 0x73, \
	0x72, 0x70, 0xf6, 0xa1, 0x64, 0x72, 0x73, 0x72, \
	0x71, 0xf6, 0xa1, 0x63, 0x73, 0x6e, 0x72, 0xf6, \
	0xa1, 0x64, 0x70, 0x6c, 0x6d, 0x6e, 0xf6, 0xa1, \
	0x63, 0x63, 0x69, 0x64, 0xf6, 0xa1, 0x64, 0x62, \
	0x61, 0x6e, 0x64, 0xf6, 0xa1, 0x66, 0x65, 0x61, \
	0x72, 0x66, 0x63, 0x6e, 0xf6, 0xa1, 0x6b, 0x74, \
	0x68, 0x65, 0x72, 0x6d, 0x6f, 0x6d, 0x65, 0x74, \
	0x65, 0x72, 0x81, 0xa1, 0x6b, 0x74, 0x65, 0x6d, \
	0x70, 0x65, 0x72, 0x61, 0x74, 0x75, 0x72, 0x65, \
	0x82, 0xa1, 0x64, 0x24, 0x64, 0x69, 0x76, 0x18, \
	0x64, 0xa1, 0x64, 0x24, 0x66, 0x70, 0x70, 0x02, \
	0xa1, 0x6d, 0x61, 0x63, 0x63, 0x65, 0x6c, 0x65, \
	0x72, 0x6f, 0x6d, 0x65, 0x74, 0x65, 0x72, 0x84, \
	0xa1, 0x67, 0x61, 0x63, 0x63, 0x65, 0x6c, 0x5f, \
	0x78, 0x82, 0xa1, 0x64, 0x24, 0x64, 0x69, 0x76, \
	0x19, 0x03, 0xe8, 0xa1, 0x64, 0x24, 0x66, 0x70, \
	0x70, 0x02, 0xa1, 0x67, 0x61, 0x63, 0x63, 0x65, \
	0x6c, 0x5f, 0x79, 0x82, 0xa1, 0x64, 0x24, 0x64, \
	0x69, 0x76, 0x19, 0x03, 0xe8, 0xa1, 0x64, 0x24, \
	0x66, 0x70, 0x70, 0x02, 0xa1, 0x67, 0x61, 0x63, \
	0x63, 0x65, 0x6c, 0x5f, 0x7a, 0x82, 0xa1, 0x64, \
	0x24, 0x64, 0x69, 0x76, 0x19, 0x03, 0xe8, 0xa1, \
	0x64, 0x24, 0x66, 0x70, 0x70, 0x02, 0xa1, 0x6b, \
	0x6f, 0x72, 0x69, 0x65, 0x6e, 0x74, 0x61, 0x74, \
	0x69, 0x6f, 0x6e, 0xf6, 0xa1, 0x66, 0x62, 0x61, \
	0x63, 0x6b, 0x75, 0x70, 0x84, 0xa1, 0x6c, 0x6c, \
	0x69, 0x6e, 0x65, 0x5f, 0x76, 0x6f, 0x6c, 0x74, \
	0x61, 0x67, 0x65, 0x82, 0xa1, 0x64, 0x24, 0x64, \
	0x69, 0x76, 0x19, 0x03, 0xe8, 0xa1, 0x64, 0x24, \
	0x66, 0x70, 0x70, 0x02, 0xa1, 0x6c, 0x62, 0x61, \
	0x74, 0x74, 0x5f, 0x76, 0x6f, 0x6c, 0x74, 0x61, \
	0x67, 0x65, 0x82, 0xa1, 0x64, 0x24, 0x64, 0x69, \
	0x76, 0x19, 0x03, 0xe8, 0xa1, 0x64, 0x24, 0x66, \
	0x70, 0x70, 0x02, 0xa1, 0x65, 0x73, 0x74, 0x61, \
	0x74, 0x65, 0x81, 0xa1, 0x65, 0x24, 0x65, 0x6e, \
	0x75, 0x6d, 0x82, 0x6c, 0x64, 0x69, 0x73, 0x63, \
	0x6f, 0x6e, 0x6e, 0x65, 0x63, 0x74, 0x65, 0x64, \
	0x69, 0x63, 0x6f, 0x6e, 0x6e, 0x65, 0x63, 0x74, \
	0x65, 0x64, 0xa1, 0x66, 0x65, 0x76, 0x65, 0x6e, \
	0x74, 0x73, 0x82, 0xa1, 0x64, 0x24, 0x6b, 0x65, \
	0x79, 0x66, 0x65, 0x76, 0x65, 0x6e, 0x74, 0x73, \
	0xa1, 0x64, 0x24, 0x74, 0x73, 0x6f, 0x81, 0xa1, \
	0x64, 0x74, 0x79, 0x70, 0x65, 0x81, 0xa1, 0x65, \
	0x24, 0x65, 0x6e, 0x75, 0x6d, 0x82, 0x6c, 0x64, \
	0x69, 0x73, 0x63, 0x6f, 0x6e, 0x6e, 0x65, 0x63, \
	0x74, 0x65, 0x64, 0x69, 0x63, 0x6f, 0x6e, 0x6e, \
	0x65, 0x63, 0x74, 0x65, 0x64, 0xa1, 0x6f, 0x61, \
	0x6e, 0x61, 0x6c, 0x6f, 0x67, 0x5f, 0x63, 0x68, \
	0x61, 0x6e, 0x6e, 0x65, 0x6c, 0x73, 0x84, 0xa1, \
	0x67, 0x63, 0x68, 0x61, 0x6e, 0x6e, 0x65, 0x6c, \
	0xf6, 0xa1, 0x67, 0x72, 0x61, 0x77, 0x5f, 0x72, \
	0x6d, 0x73, 0x81, 0xa1, 0x70, 0x6d, 0x65, 0x61, \
	0x73, 0x75, 0x72, 0x65, 0x6d, 0x65, 0x6e, 0x74, \
	0x73, 0x5f, 0x64, 0x69, 0x76, 0x82, 0xa1, 0x64, \
	0x24, 0x6b, 0x65, 0x79, 0x6c, 0x6d, 0x65, 0x61, \
	0x73, 0x75, 0x72, 0x65, 0x6d, 0x65, 0x6e, 0x74, \
	0x73, 0xa1, 0x64, 0x24, 0x74, 0x73, 0x70, 0x84, \
	0xa1, 0x63, 0x6d, 0x69, 0x6e, 0x82, 0xa1, 0x64, \
	0x24, 0x64, 0x69, 0x76, 0x18, 0x64, 0xa1, 0x64, \
	0x24, 0x66, 0x70, 0x70, 0x02, 0xa1, 0x63, 0x6d, \
	0x61, 0x78, 0x82, 0xa1, 0x64, 0x24, 0x64, 0x69, \
	0x76, 0x18, 0x64, 0xa1, 0x64, 0x24, 0x66, 0x70, \
	0x70, 0x02, 0xa1, 0x63, 0x61, 0x76, 0x67, 0x82, \
	0xa1, 0x64, 0x24, 0x64, 0x69, 0x76, 0x18, 0x64, \
	0xa1, 0x64, 0x24, 0x66, 0x70, 0x70, 0x02, 0xa1, \
	0x63, 0x6d, 0x64, 0x6e, 0x82, 0xa1, 0x64, 0x24, \
	0x64, 0x69, 0x76, 0x18, 0x64, 0xa1, 0x64, 0x24, \
	0x66, 0x70, 0x70, 0x02, 0xa1, 0x68, 0x72, 0x61, \
	0x77, 0x5f, 0x6d, 0x65, 0x61, 0x6e, 0x81, 0xa1, \
	0x70, 0x6d, 0x65, 0x61, 0x73, 0x75, 0x72, 0x65, \
	0x6d, 0x65, 0x6e, 0x74, 0x73, 0x5f, 0x64, 0x69, \
	0x76, 0x82, 0xa1, 0x64, 0x24, 0x6b, 0x65, 0x79, \
	0x6c, 0x6d, 0x65, 0x61, 0x73, 0x75, 0x72, 0x65, \
	0x6d, 0x65, 0x6e, 0x74, 0x73, 0xa1, 0x64, 0x24, \
	0x74, 0x73, 0x70, 0x84, 0xa1, 0x63, 0x6d, 0x69, \
	0x6e, 0x82, 0xa1, 0x64, 0x24, 0x64, 0x69, 0x76, \
	0x18, 0x64, 0xa1, 0x64, 0x24, 0x66, 0x70, 0x70, \
	0x02, 0xa1, 0x63, 0x6d, 0x61, 0x78, 0x82, 0xa1, \
	0x64, 0x24, 0x64, 0x69, 0x76, 0x18, 0x64, 0xa1, \
	0x64, 0x24, 0x66, 0x70, 0x70, 0x02, 0xa1, 0x63, \
	0x61, 0x76, 0x67, 0x82, 0xa1, 0x64, 0x24, 0x64, \
	0x69, 0x76, 0x18, 0x64, 0xa1, 0x64, 0x24, 0x66, \
	0x70, 0x70, 0x02, 0xa1, 0x63, 0x6d, 0x64, 0x6e, \
	0x82, 0xa1, 0x64, 0x24, 0x64, 0x69, 0x76, 0x18, \
	0x64, 0xa1, 0x64, 0x24, 0x66, 0x70, 0x70, 0x02, \
	0xa1, 0x6b, 0x63, 0x61, 0x6c, 0x69, 0x62, 0x72, \
	0x61, 0x74, 0x69, 0x6f, 0x6e, 0x82, 0xa1, 0x64, \
	0x6d, 0x6f, 0x64, 0x65, 0x81, 0xa1, 0x65, 0x24, \
	0x65, 0x6e, 0x75, 0x6d, 0x82, 0x63, 0x61, 0x76, \
	0x67, 0x63, 0x72, 0x6d, 0x73, 0xa1, 0x70, 0x6d, \
	0x65, 0x61, 0x73, 0x75, 0x72, 0x65, 0x6d, 0x65, \
	0x6e, 0x74, 0x73, 0x5f, 0x64, 0x69, 0x76, 0x82, \
	0xa1, 0x64, 0x24, 0x6b, 0x65, 0x79, 0x6c, 0x6d, \
	0x65, 0x61, 0x73, 0x75, 0x72, 0x65, 0x6d, 0x65, \
	0x6e, 0x74, 0x73, 0xa1, 0x64, 0x24, 0x74, 0x73, \
	0x70, 0x84, 0xa1, 0x63, 0x6d, 0x69, 0x6e, 0x82, \
	0xa1, 0x64, 0x24, 0x64, 0x69, 0x76, 0x18, 0x64, \
	0xa1, 0x64, 0x24, 0x66, 0x70, 0x70, 0x02, 0xa1, \
	0x63, 0x6d, 0x61, 0x78, 0x82, 0xa1, 0x64, 0x24, \
	0x64, 0x69, 0x76, 0x18, 0x64, 0xa1, 0x64, 0x24, \
	0x66, 0x70, 0x70, 0x02, 0xa1, 0x63, 0x61, 0x76, \
	0x67, 0x82, 0xa1, 0x64, 0x24, 0x64, 0x69, 0x76, \
	0x18, 0x64, 0xa1, 0x64, 0x24, 0x66, 0x70, 0x70, \
	0x02, 0xa1, 0x63, 0x6d, 0x64, 0x6e, 0x82, 0xa1, \
	0x64, 0x24, 0x64, 0x69, 0x76, 0x18, 0x64, 0xa1, \
	0x64, 0x24, 0x66, 0x70, 0x70, 0x02, 0xa1, 0x6f, \
	0x77, 0x31, 0x5f, 0x74, 0x68, 0x65, 0x72, 0x6d, \
	0x6f, 0x6d, 0x65, 0x74, 0x65, 0x72, 0x73, 0x82, \
	0xa1, 0x6d, 0x73, 0x65, 0x72, 0x69, 0x61, 0x6c, \
	0x5f, 0x6e, 0x75, 0x6d, 0x62, 0x65, 0x72, 0xf6, \
	0xa1, 0x70, 0x6d, 0x65, 0x61, 0x73, 0x75, 0x72, \
	0x65, 0x6d, 0x65, 0x6e, 0x74, 0x73, 0x5f, 0x64, \
	0x69, 0x76, 0x82, 0xa1, 0x64, 0x24, 0x6b, 0x65, \
	0x79, 0x6c, 0x6d, 0x65, 0x61, 0x73, 0x75, 0x72, \
	0x65, 0x6d, 0x65, 0x6e, 0x74, 0x73, 0xa1, 0x64, \
	0x24, 0x74, 0x73, 0x70, 0x84, 0xa1, 0x63, 0x6d, \
	0x69, 0x6e, 0x82, 0xa1, 0x64, 0x24, 0x64, 0x69, \
	0x76, 0x18, 0x64, 0xa1, 0x64, 0x24, 0x66, 0x70, \
	0x70, 0x02, 0xa1, 0x63, 0x6d, 0x61, 0x78, 0x82, \
	0xa1, 0x64, 0x24, 0x64, 0x69, 0x76, 0x18, 0x64, \
	0xa1, 0x64, 0x24, 0x66, 0x70, 0x70, 0x02, 0xa1, \
	0x63, 0x61, 0x76, 0x67, 0x82, 0xa1, 0x64, 0x24, \
	0x64, 0x69, 0x76, 0x18, 0x64, 0xa1, 0x64, 0x24, \
	0x66, 0x70, 0x70, 0x02, 0xa1, 0x63, 0x6d, 0x64, \
	0x6e, 0x82, 0xa1, 0x64, 0x24, 0x64, 0x69, 0x76, \
	0x18, 0x64, 0xa1, 0x64, 0x24, 0x66, 0x70, 0x70, \
	0x02, 0xa1, 0x68, 0x62, 0x6c, 0x65, 0x5f, 0x74, \
	0x61, 0x67, 0x73, 0x85, 0xa1, 0x64, 0x61, 0x64, \
	0x64, 0x72, 0xf6, 0xa1, 0x64, 0x72, 0x73, 0x73, \
	0x69, 0xf6, 0xa1, 0x67, 0x76, 0x6f, 0x6c, 0x74, \
	0x61, 0x67, 0x65, 0x82, 0xa1, 0x64, 0x24, 0x64, \
	0x69, 0x76, 0x18, 0x64, 0xa1, 0x64, 0x24, 0x66, \
	0x70, 0x70, 0x02, 0xa1, 0x6b, 0x74, 0x65, 0x6d, \
	0x70, 0x65, 0x72, 0x61, 0x74, 0x75, 0x72, 0x65, \
	0x81, 0xa1, 0x6c, 0x6d, 0x65, 0x61, 0x73, 0x75, \
	0x72, 0x65, 0x6d, 0x65, 0x6e, 0x74, 0x73, 0x81, \
	0xa1, 0x64, 0x24, 0x74, 0x73, 0x70, 0x84, 0xa1, \
	0x63, 0x6d, 0x69, 0x6e, 0x82, 0xa1, 0x64, 0x24, \
	0x64, 0x69, 0x76, 0x18, 0x64, 0xa1, 0x64, 0x24, \
	0x66, 0x70, 0x70, 0x02, 0xa1, 0x63, 0x6d, 0x61, \
	0x78, 0x82, 0xa1, 0x64, 0x24, 0x64, 0x69, 0x76, \
	0x18, 0x64, 0xa1, 0x64, 0x24, 0x66, 0x70, 0x70, \
	0x02, 0xa1, 0x63, 0x61, 0x76, 0x67, 0x82, 0xa1, \
	0x64, 0x24, 0x64, 0x69, 0x76, 0x18, 0x64, 0xa1, \
	0x64, 0x24, 0x66, 0x70, 0x70, 0x02, 0xa1, 0x63, \
	0x6d, 0x64, 0x6e, 0x82, 0xa1, 0x64, 0x24, 0x64, \
	0x69, 0x76, 0x18, 0x64, 0xa1, 0x64, 0x24, 0x66, \
	0x70, 0x70, 0x02, 0xa1, 0x68, 0x68, 0x75, 0x6d, \
	0x69, 0x64, 0x69, 0x74, 0x79, 0x81, 0xa1, 0x6c, \
	0x6d, 0x65, 0x61, 0x73, 0x75, 0x72, 0x65, 0x6d, \
	0x65, 0x6e, 0x74, 0x73, 0x81, 0xa1, 0x64, 0x24, \
	0x74, 0x73, 0x70, 0x84, 0xa1, 0x63, 0x6d, 0x69, \
	0x6e, 0x82, 0xa1, 0x64, 0x24, 0x64, 0x69, 0x76, \
	0x18, 0x64, 0xa1, 0x64, 0x24, 0x66, 0x70, 0x70, \
	0x02, 0xa1, 0x63, 0x6d, 0x61, 0x78, 0x82, 0xa1, \
	0x64, 0x24, 0x64, 0x69, 0x76, 0x18, 0x64, 0xa1, \
	0x64, 0x24, 0x66, 0x70, 0x70, 0x02, 0xa1, 0x63, \
	0x61, 0x76, 0x67, 0x82, 0xa1, 0x64, 0x24, 0x64, \
	0x69, 0x76, 0x18, 0x64, 0xa1, 0x64, 0x24, 0x66, \
	0x70, 0x70, 0x02, 0xa1, 0x63, 0x6d, 0x64, 0x6e, \
	0x82, 0xa1, 0x64, 0x24, 0x64, 0x69, 0x76, 0x18, \
	0x64, 0xa1, 0x64, 0x24, 0x66, 0x70, 0x70, 0x02, \
}

#ifdef __cplusplus
}
#endif

#endif /* CODEC_H_ */
```

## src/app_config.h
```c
/*
 * Copyright (c) 2024 HARDWARIO a.s.
 *
 * SPDX-License-Identifier: LicenseRef-HARDWARIO-5-Clause
 */

#ifndef APP_CONFIG_H_
#define APP_CONFIG_H_

/* Zephyr includes */
#include <zephyr/shell/shell.h>

/* Standard includes */
#include <stdbool.h>
#include <stddef.h>

/* ### Preserved code "includes" (begin) */
#define APP_CONFIG_INTERVAL_REPORT_MIN 30
#define APP_CONFIG_INTERVAL_REPORT_MAX 86400

/* Common enum values for calibration mode */
#define APP_CONFIG_CALIB_MODE_MEAN 0
#define APP_CONFIG_CALIB_MODE_RMS  1

/* Helper macros to get/set calibration mode by channel index (0-based) */
#if defined(FEATURE_HARDWARE_CHESTER_K1)
#define APP_CONFIG_GET_CALIB_MODE(cfg, idx)                                                        \
	((idx) == 0   ? (cfg).channel_calib_mode_1                                                 \
	 : (idx) == 1 ? (cfg).channel_calib_mode_2                                                 \
	 : (idx) == 2 ? (cfg).channel_calib_mode_3                                                 \
		      : (cfg).channel_calib_mode_4)

#define APP_CONFIG_SET_CALIB_MODE(cfg, idx, val)                                                   \
	do {                                                                                       \
		switch (idx) {                                                                     \
		case 0:                                                                            \
			(cfg).channel_calib_mode_1 = (val);                                        \
			break;                                                                     \
		case 1:                                                                            \
			(cfg).channel_calib_mode_2 = (val);                                        \
			break;                                                                     \
		case 2:                                                                            \
			(cfg).channel_calib_mode_3 = (val);                                        \
			break;                                                                     \
		case 3:                                                                            \
			(cfg).channel_calib_mode_4 = (val);                                        \
			break;                                                                     \
		}                                                                                  \
	} while (0)
#endif
/* ^^^ Preserved code "includes" (end) */

#ifdef __cplusplus
extern "C" {
#endif

#define APP_CONFIG_CHANNEL_COUNT 4

enum app_config_mode {
	APP_CONFIG_MODE_NONE = 0,
	APP_CONFIG_MODE_LTE = 1,
	APP_CONFIG_MODE_LRW = 2,
};

#if defined(FEATURE_HARDWARE_CHESTER_K1)

enum app_config_channel_calib_mode_1 {
	APP_CONFIG_CHANNEL_CALIB_MODE_1_MEAN = 0,
	APP_CONFIG_CHANNEL_CALIB_MODE_1_RMS = 1,
};

#endif /* defined(FEATURE_HARDWARE_CHESTER_K1) */

#if defined(FEATURE_HARDWARE_CHESTER_K1)

enum app_config_channel_calib_mode_2 {
	APP_CONFIG_CHANNEL_CALIB_MODE_2_MEAN = 0,
	APP_CONFIG_CHANNEL_CALIB_MODE_2_RMS = 1,
};

#endif /* defined(FEATURE_HARDWARE_CHESTER_K1) */

#if defined(FEATURE_HARDWARE_CHESTER_K1)

enum app_config_channel_calib_mode_3 {
	APP_CONFIG_CHANNEL_CALIB_MODE_3_MEAN = 0,
	APP_CONFIG_CHANNEL_CALIB_MODE_3_RMS = 1,
};

#endif /* defined(FEATURE_HARDWARE_CHESTER_K1) */

#if defined(FEATURE_HARDWARE_CHESTER_K1)

enum app_config_channel_calib_mode_4 {
	APP_CONFIG_CHANNEL_CALIB_MODE_4_MEAN = 0,
	APP_CONFIG_CHANNEL_CALIB_MODE_4_RMS = 1,
};

#endif /* defined(FEATURE_HARDWARE_CHESTER_K1) */

struct app_config {
	int interval_sample;
	int interval_aggreg;
	int interval_report;
	int interval_poll;
	int downlink_wdg_interval;
	int event_report_delay;
	int event_report_rate;

#if defined(FEATURE_HARDWARE_CHESTER_K1)
	bool channel_active[4];
	bool channel_differential[4];
	float channel_calib_x0[4];
	float channel_calib_x1[4];
	float channel_calib_y0[4];
	float channel_calib_y1[4];
	enum app_config_channel_calib_mode_1 channel_calib_mode_1;
	enum app_config_channel_calib_mode_2 channel_calib_mode_2;
	enum app_config_channel_calib_mode_3 channel_calib_mode_3;
	enum app_config_channel_calib_mode_4 channel_calib_mode_4;
#endif /* defined(FEATURE_HARDWARE_CHESTER_K1) */

#if defined(FEATURE_SUBSYSTEM_DS18B20)
	int w1_therm_interval_sample;
	int w1_therm_interval_aggreg;
#endif /* defined(FEATURE_SUBSYSTEM_DS18B20) */

	enum app_config_mode mode;

	/* ### Preserved code "struct variables" (begin) */
	/* ^^^ Preserved code "struct variables" (end) */
};

extern struct app_config g_app_config;

int app_config_cmd_config_show(const struct shell *shell, size_t argc, char **argv);
int app_config_cmd_config_mode(const struct shell *shell, size_t argc, char **argv);

int app_config_cmd_config(const struct shell *shell, size_t argc, char **argv);

/* ### Preserved code "functions" (begin) */
int app_config_get_interval_report(void);
int app_config_set_interval_report(int value);
#if defined(FEATURE_HARDWARE_CHESTER_K1)
int app_config_save_channel_calib(int channel);
#endif
/* ^^^ Preserved code "functions" (end) */

#ifdef __cplusplus
}
#endif

#endif /* APP_CONFIG_H_ */
```

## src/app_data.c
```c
/*
 * Copyright (c) 2024 HARDWARIO a.s.
 *
 * SPDX-License-Identifier: LicenseRef-HARDWARIO-5-Clause
 */

#include "app_data.h"

/* CHESTER includes */
#include <chester/ctr_lte.h>

/* Zephyr includes */
#include <zephyr/kernel.h>

/* Standard includes */
#include <limits.h>
#include <math.h>

/*
 * Keep `g_app_data` zero-initialized so it is placed in `.bss` (RAM only).
 * Non-zero initializers (NAN, INT_MAX) would move the whole structure to
 * `.data`, which occupies the same amount of FLASH and is copied on boot.
 * Non-zero defaults are set at runtime in `app_data_init()` instead.
 */
struct app_data g_app_data;

static K_MUTEX_DEFINE(m_lock);

int app_data_init(void)
{
	app_data_lock();

	g_app_data.accel_acceleration_x = NAN;
	g_app_data.accel_acceleration_y = NAN;
	g_app_data.accel_acceleration_z = NAN;
	g_app_data.accel_orientation = INT_MAX;
	g_app_data.therm_temperature = NAN;

#if defined(FEATURE_SUBSYSTEM_DS18B20)
	for (int i = 0; i < APP_DATA_W1_THERM_COUNT; i++) {
		g_app_data.w1_therm.sensor[i].last_sample_temperature = NAN;
	}
#endif /* defined(FEATURE_SUBSYSTEM_DS18B20) */

#if defined(FEATURE_SUBSYSTEM_BLE_TAG)
	for (int i = 0; i < CTR_BLE_TAG_COUNT; i++) {
		g_app_data.ble_tag.sensor[i].last_sample_temperature = NAN;
		g_app_data.ble_tag.sensor[i].last_sample_humidity = NAN;
	}
#endif /* defined(FEATURE_SUBSYSTEM_BLE_TAG) */

#if defined(FEATURE_HARDWARE_CHESTER_K1)
	for (int i = 0; i < APP_CONFIG_CHANNEL_COUNT; i++) {
		g_app_data.channel[i].last_sample_mean = NAN;
		g_app_data.channel[i].last_sample_rms = NAN;
	}
#endif /* defined(FEATURE_HARDWARE_CHESTER_K1) */

	app_data_unlock();

	return 0;
}

void app_data_lock(void)
{
	k_mutex_lock(&m_lock, K_FOREVER);
}

void app_data_unlock(void)
{
	k_mutex_unlock(&m_lock);
}
```

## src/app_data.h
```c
/*
 * Copyright (c) 2024 HARDWARIO a.s.
 *
 * SPDX-License-Identifier: LicenseRef-HARDWARIO-5-Clause
 */

#ifndef APP_DATA_H_
#define APP_DATA_H_

#include "app_config.h"

/* CHESTER includes */
#include <chester/ctr_ble_tag.h>
#include <chester/application/ctr_data.h>

/* Standard includes */
#include <stdbool.h>
#include <stdint.h>

#define APP_DATA_MAX_MEASUREMENTS 32
#define APP_DATA_MAX_SAMPLES      32

#if defined(FEATURE_SUBSYSTEM_BLE_TAG)
#define APP_DATA_MAX_BLE_TAG_SAMPLES      16
#define APP_DATA_MAX_BLE_TAG_MEASUREMENTS 16
#endif /* defined(FEATURE_SUBSYSTEM_BLE_TAG) */

#define APP_DATA_W1_THERM_COUNT            10
#define APP_DATA_W1_THERM_MAX_SAMPLES      32
#define APP_DATA_W1_THERM_MAX_MEASUREMENTS 32

#ifdef __cplusplus
extern "C" {
#endif

#if defined(FEATURE_HARDWARE_CHESTER_K1)
struct app_data_channel {
	int64_t timestamp;

	int sample_count;
	float samples_mean[APP_DATA_MAX_SAMPLES];
	float samples_rms[APP_DATA_MAX_SAMPLES];

	int measurement_count;
	struct ctr_data_aggreg measurements_mean[APP_DATA_MAX_MEASUREMENTS];
	struct ctr_data_aggreg measurements_rms[APP_DATA_MAX_MEASUREMENTS];
	struct ctr_data_aggreg measurements_calib[APP_DATA_MAX_MEASUREMENTS];

	float last_sample_mean;
	float last_sample_rms;
	float last_sample_calib;
};
#endif /* defined(FEATURE_HARDWARE_CHESTER_K1) */

#if defined(FEATURE_SUBSYSTEM_DS18B20)
struct app_data_w1_therm_measurement {
	struct ctr_data_aggreg temperature;
};

struct app_data_w1_therm_sensor {
	uint64_t serial_number;

	float last_sample_temperature;

	int sample_count;
	float samples_temperature[APP_DATA_W1_THERM_MAX_SAMPLES];

	int measurement_count;
	struct app_data_w1_therm_measurement measurements[APP_DATA_W1_THERM_MAX_MEASUREMENTS];
};

struct app_data_w1_therm {
	struct app_data_w1_therm_sensor sensor[APP_DATA_W1_THERM_COUNT];

	int64_t timestamp;
	atomic_t sample;
	atomic_t aggreg;
};
#endif /* defined(FEATURE_SUBSYSTEM_DS18B20) */

#if defined(FEATURE_SUBSYSTEM_BLE_TAG)

struct app_data_ble_tag_measurement {
	struct ctr_data_aggreg temperature;
	struct ctr_data_aggreg humidity;
};

struct app_data_ble_tag_sensor {
	uint8_t addr[BT_ADDR_SIZE];

	int8_t rssi;
	float voltage;

	float last_sample_temperature;
	float last_sample_humidity;

	int sample_count;
	float samples_temperature[APP_DATA_MAX_SAMPLES];
	float samples_humidity[APP_DATA_MAX_SAMPLES];

	int measurement_count;
	struct app_data_ble_tag_measurement measurements[APP_DATA_MAX_BLE_TAG_MEASUREMENTS];
};

struct app_data_ble_tag {
	struct app_data_ble_tag_sensor sensor[CTR_BLE_TAG_COUNT];

	int64_t timestamp;
	atomic_t sample;
	atomic_t aggreg;
};

#endif /* defined(FEATURE_SUBSYSTEM_BLE_TAG) */

struct app_data {
	float therm_temperature;
	float accel_acceleration_x;
	float accel_acceleration_y;
	float accel_acceleration_z;
	int accel_orientation;

#if defined(FEATURE_HARDWARE_CHESTER_K1)
	struct app_data_channel channel[APP_CONFIG_CHANNEL_COUNT];
#endif /* defined(FEATURE_HARDWARE_CHESTER_K1) */

#if defined(FEATURE_SUBSYSTEM_DS18B20)
	struct app_data_w1_therm w1_therm;
#endif /* defined(FEATURE_SUBSYSTEM_DS18B20) */

#if defined(FEATURE_SUBSYSTEM_BLE_TAG)
	struct app_data_ble_tag ble_tag;
#endif /* defined(FEATURE_SUBSYSTEM_BLE_TAG) */
};

extern struct app_data g_app_data;

int app_data_init(void);
void app_data_lock(void);
void app_data_unlock(void);

#ifdef __cplusplus
}
#endif

#endif /* APP_DATA_H_ */
```

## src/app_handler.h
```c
/*
 * Copyright (c) 2024 HARDWARIO a.s.
 *
 * SPDX-License-Identifier: LicenseRef-HARDWARIO-5-Clause
 */

#ifndef APP_HANDLER_H_
#define APP_HANDLER_H_

/* CHESTER includes */
#include <chester/ctr_button.h>
#include <chester/ctr_cloud.h>
#include <chester/ctr_lrw.h>
#include <chester/ctr_lte.h>
#include <chester/ctr_power.h>

#ifdef __cplusplus
extern "C" {
#endif

#if defined(FEATURE_SUBSYSTEM_LRW)
void app_handler_lrw(enum ctr_lrw_event event, union ctr_lrw_event_data *data, void *param);
#endif /* defined(FEATURE_SUBSYSTEM_LRW) */

#if defined(FEATURE_SUBSYSTEM_POWER)
void app_handler_power_event(const struct ctr_power_event *event, void *user_data);
#endif /* defined(FEATURE_SUBSYSTEM_POWER) */

#if defined(FEATURE_SUBSYSTEM_BUTTON)
void app_handler_ctr_button(enum ctr_button_channel chan, enum ctr_button_event ev, int val,
			    void *user_data);
#endif /* defined(CONFIG_SHIELD_BUTTON) */

#ifdef __cplusplus
}
#endif

#endif /* APP_HANDLER_H_ */
```
